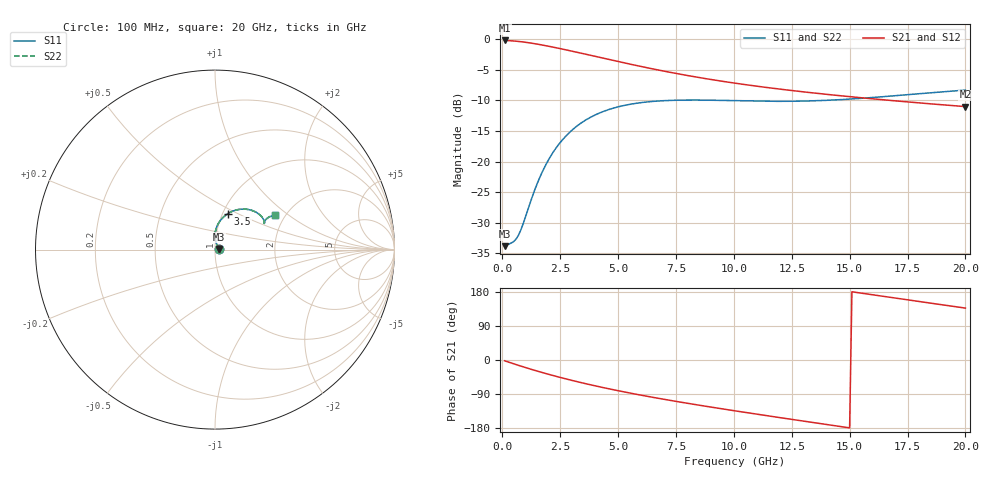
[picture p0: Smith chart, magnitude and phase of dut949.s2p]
! Touchstone file exported from HFSS 2024.1.0
!  File:  C:/UserFiles/LocalFiles/RDL_TSV_Batchsim/temp_RDL_TSV_949_1779964707.aedt
!  Generated:  08:22:13 PM May 28, 2026
!  Design:  RDL_TSV
!  Project:  temp_RDL_TSV_949_1779964707
!  Setup:  Setup1
!  Solution:  Sweep
! Variables:
!  dtsv = 10.38um
!  hbump = 3um
!  htsv = 92.13um
!  ldown = 341.67um
!  lrdl = 481.67um
!  p = 40
!  p1 = 57.4um
!  rhole = 10um
!  subl = 2951.69um
!  t = 450um
!  tdown = 4.65um
!  trdl = 2.36um
!  viad = 10um
!  wdown = 13.3um
!  wrdl = 20.97um
!  xbump = 18um
# GHz S MA R 50.000000
! Terminal data exported
! Port[1] = TM1_1_T1
! Port[2] = TM1_4_T1
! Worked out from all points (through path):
!   200 points, 100 MHz to 20 GHz, reference 50 ohm
!   highest |S21| = -0.18 dB at 100 MHz (marker M1); lowest = -11.0 dB at 20 GHz (marker M2)
!   group delay of S21, straight-line fit = 28.9 ps
!   lowest |S11| = -33.9 dB at 100 MHz (marker M3), VSWR 1.04, Z = 52 + j0.304 ohm
!   |S11| at or under -10 dB: start of sweep to 7.216 GHz; 9.501 GHz to 13.88 GHz (4.383 GHz wide, 37.5 % of centre)
!   |S22| runs from -33.9 to -8.3 dB; largest |S21 - S12| = 3.7e-14
!   S11 on the Smith chart (normalised r, x): 100 MHz: 1.04, +0.01; 3.5 GHz: 1.06, +0.44; 20 GHz: 1.78, +0.79
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0.1  0.02028 8.3  0.9794 -2.1  0.9794 -2.1  0.02028 8.3
! Gamma 0 0 0 0
! Port Impedance 50 0 50 0
0.5  0.0222 38.9  0.9697 -10.2  0.9697 -10.2  0.0222 38.9
0.7  0.02496 56.4  0.9617 -14.1  0.9617 -14.1  0.02496 56.4
0.9  0.03091 71.5  0.9519 -18.0  0.9519 -18.0  0.0309 71.5
1.4  0.05846 88.7  0.9216 -27.3  0.9216 -27.3  0.05846 88.7
1.8  0.08785 89.7  0.8932 -34.4  0.8932 -34.4  0.08785 89.7
2.2  0.1194 86.6  0.8631 -41.1  0.8631 -41.1  0.1194 86.7
2.6  0.1506 82.0  0.8323 -47.6  0.8323 -47.6  0.1506 82.0
3  0.1799 76.8  0.8014 -53.7  0.8014 -53.7  0.1799 76.9
3.5  0.2125 70.4  0.7634 -61.1  0.7634 -61.1  0.2126 70.4
4.2  0.2496 62.0  0.7124 -70.7  0.7124 -70.7  0.2497 62.0
5.1  0.2832 52.7  0.6523 -82.3  0.6523 -82.3  0.2833 52.7
5.9  0.3019 45.9  0.6048 -91.8  0.6048 -91.8  0.3019 45.9
6.8  0.3134 39.8  0.558 -101.8  0.558 -101.8  0.3135 39.8
8.3  0.3185 32.9  0.4942 -117.3  0.4942 -117.3  0.3186 32.9
10.1  0.3144 28.7  0.4365 -134.6  0.4365 -134.6  0.3145 28.8
11.7  0.3111 28.0  0.3975 -149.4  0.3975 -149.4  0.3112 28.0
13.4  0.3139 28.9  0.3648 -164.8  0.3648 -164.8  0.3139 28.9
15  0.3243 30.2  0.3396 -179.1  0.3396 -179.1  0.3244 30.2
16.7  0.3424 31.0  0.317 165.8  0.317 165.8  0.3425 31.1
18.4  0.364 30.8  0.2976 150.9  0.2976 150.9  0.3642 30.8
20  0.3841 29.7  0.2816 137.0  0.2816 137.0  0.3844 29.7
